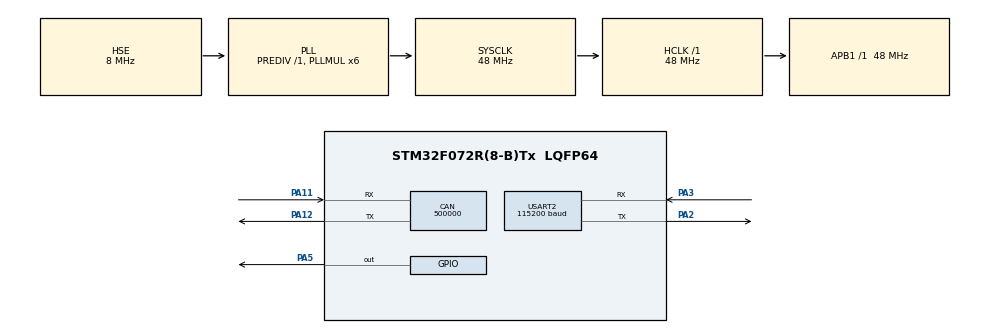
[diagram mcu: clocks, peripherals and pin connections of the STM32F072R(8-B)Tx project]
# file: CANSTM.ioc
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CAN.BS1=CAN_BS1_2TQ
CAN.BS2=CAN_BS2_3TQ
CAN.CalculateBaudRate=500000
CAN.CalculateTimeBit=2000
CAN.CalculateTimeQuantum=333.3333333333333
CAN.SJW=CAN_SJW_2TQ
Dma.Request0=USART2_RX
Dma.USART2_RX.0.Direction=DMA_PERIPH_TO_MEMORY
Dma.USART2_RX.0.Instance=DMA1_Channel5
Dma.USART2_RX.0.MemDataAlignment=DMA_MDATAALIGN_BYTE
Dma.USART2_RX.0.MemInc=DMA_MINC_ENABLE
Dma.USART2_RX.0.Mode=DMA_NORMAL
Dma.USART2_RX.0.PeriphDataAlignment=DMA_PDATAALIGN_BYTE
Dma.USART2_RX.0.PeriphInc=DMA_PINC_DISABLE
Dma.USART2_RX.0.Priority=DMA_PRIORITY_LOW
Mcu.Family=STM32F0
Mcu.Name=STM32F072R(8-B)Tx
Mcu.Package=LQFP64
NVIC.CEC_CAN_IRQn=true\:0\:0\:false\:false\:true\:true\:true\:true
NVIC.DMA1_Channel4_5_6_7_IRQn=true\:0\:0\:false\:false\:true\:false\:true\:true
PA11.Mode=CAN_Activate
PA11.Signal=CAN_RX
PA12.Mode=CAN_Activate
PA12.Signal=CAN_TX
PA2.Mode=Asynchronous
PA2.Signal=USART2_TX
PA3.Mode=Asynchronous
PA3.Signal=USART2_RX
PA5.Signal=GPIO_Output
PF0-OSC_IN.Mode=HSE-External-Oscillator
PF0-OSC_IN.Signal=RCC_OSC_IN
PF1-OSC_OUT.Mode=HSE-External-Oscillator
PF1-OSC_OUT.Signal=RCC_OSC_OUT
ProjectManager.HeapSize=0x200
ProjectManager.StackSize=0x400
ProjectManager.TargetToolchain=STM32CubeIDE
RCC.AHBFreq_Value=48000000
RCC.APB1Freq_Value=48000000
RCC.APB1TimFreq_Value=48000000
RCC.HCLKFreq_Value=48000000
RCC.PLLMUL=RCC_PLL_MUL6
RCC.PLLSourceVirtual=RCC_PLLSOURCE_HSE
RCC.SYSCLKFreq_VALUE=48000000
RCC.SYSCLKSource=RCC_SYSCLKSOURCE_PLLCLK
USART2.BaudRate=115200
USART2.VirtualMode-Asynchronous=VM_ASYNC
board=custom

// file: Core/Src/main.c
/* USER CODE BEGIN Header */
/**
  ******************************************************************************
  * @file           : main.c
  * @brief          : Main program body
  ******************************************************************************
  * @attention
  *
  * Copyright (c) 2023 STMicroelectronics.
  * All rights reserved.
  *
  * This software is licensed under terms that can be found in the LICENSE file
  * in the root directory of this software component.
  * If no LICENSE file comes with this software, it is provided AS-IS.
  *
  ******************************************************************************
  */
/* USER CODE END Header */
#include "main.h"

CAN_HandleTypeDef hcan;

UART_HandleTypeDef huart2;
DMA_HandleTypeDef hdma_usart2_rx;

void SystemClock_Config(void);
static void MX_GPIO_Init(void);
static void MX_DMA_Init(void);
static void MX_CAN_Init(void);
static void MX_USART2_UART_Init(void);
/* USER CODE BEGIN PFP */

void CAN_Config(void);
uint8_t CAN_Transmit(uint32_t, uint32_t, uint8_t *);

/* USER CODE END PFP */

/* USER CODE BEGIN 0 */

CAN_RxHeaderTypeDef RxHeader; //CAN Bus Transmit Header
CAN_TxHeaderTypeDef TxHeader; //CAN Bus Receive Header

uint8_t 			RxData[8];  //CAN Bus Receive Buffer
uint8_t				TxData[8] = {0, 1, 2, 3, 4, 5, 6, 7};
uint32_t TxMailbox; //CAN Bus Mail box variable

uint8_t UART_rxBuffer[1] = {0};
uint8_t UART_rxBLock[16];
uint8_t i = 0;

/* USER CODE END 0 */

int main(void)
{

  /* MCU Configuration--------------------------------------------------------*/

  /* Reset of all peripherals, Initializes the Flash interface and the Systick. */
  HAL_Init();

  /* Configure the system clock */
  SystemClock_Config();

  /* Initialize all configured peripherals */
  MX_GPIO_Init();
  MX_DMA_Init();
  MX_CAN_Init();
  MX_USART2_UART_Init();
  /* USER CODE BEGIN 2 */

  CAN_Config();

  HAL_UART_Receive_DMA (&huart2, UART_rxBuffer, 1);

  uint8_t Test[] = "Hello World !!!\r\n"; //Data to send
  HAL_UART_Transmit(&huart2,Test,sizeof(Test),10);
  HAL_Delay(1000);

  /* USER CODE END 2 */

  /* Infinite loop */
  while (1)
  {

    /* USER CODE BEGIN 3 */

	 /*  uint8_t Test[] = "Hello World !!!\r\n"; //Data to send
	  HAL_UART_Transmit(&huart2,Test,sizeof(Test),10);// Sending in normal mode
	  HAL_Delay(1000);
	 */

	  if ((UART_rxBuffer[0] == 110) || (i == 15))
	  {
		  HAL_UART_Transmit(&huart2, UART_rxBLock, sizeof(Test), 10);
		  UART_rxBuffer[0] = 0;
		  for(int j=0; j<= 15; j++)
		  {
			  UART_rxBLock[j] = 0;
		  }
		  i = 0;
	  }

	  if(HAL_CAN_GetRxFifoFillLevel(&hcan, CAN_RX_FIFO0) > 0)
	  {
		  HAL_CAN_GetRxMessage(&hcan, CAN_RX_FIFO0, &RxHeader, RxData);

		  if (RxHeader.IDE == CAN_ID_STD && RxHeader.DLC == 1 && RxData[0] == 4)
		  {
			  uint8_t CanMsg[] = "RECEPTION";
			  HAL_UART_Transmit(&huart2,CanMsg,sizeof(CanMsg),10);
		  }
	  }

	  uint32_t addr = 0x00;
	  uint32_t data_size = 8;
	  uint8_t tab_data[] = {0, 1, 2, 3, 4, 5, 6, 7};

	  CAN_Transmit(addr, data_size, &tab_data);

  /* USER CODE END 3 */
}

void SystemClock_Config(void)
{
  RCC_OscInitTypeDef RCC_OscInitStruct = {0};
  RCC_ClkInitTypeDef RCC_ClkInitStruct = {0};
  RCC_PeriphCLKInitTypeDef PeriphClkInit = {0};

  /** Initializes the RCC Oscillators according to the specified parameters
  * in the RCC_OscInitTypeDef structure.
  */
  RCC_OscInitStruct.OscillatorType = RCC_OSCILLATORTYPE_HSE;
  RCC_OscInitStruct.HSEState = RCC_HSE_ON;
  RCC_OscInitStruct.PLL.PLLState = RCC_PLL_ON;
  RCC_OscInitStruct.PLL.PLLSource = RCC_PLLSOURCE_HSE;
  RCC_OscInitStruct.PLL.PLLMUL = RCC_PLL_MUL6;
  RCC_OscInitStruct.PLL.PREDIV = RCC_PREDIV_DIV1;
  if (HAL_RCC_OscConfig(&RCC_OscInitStruct) != HAL_OK)
  {
    Error_Handler();
  }

  /** Initializes the CPU, AHB and APB buses clocks
  */
  RCC_ClkInitStruct.ClockType = RCC_CLOCKTYPE_HCLK|RCC_CLOCKTYPE_SYSCLK
                              |RCC_CLOCKTYPE_PCLK1;
  RCC_ClkInitStruct.SYSCLKSource = RCC_SYSCLKSOURCE_PLLCLK;
  RCC_ClkInitStruct.AHBCLKDivider = RCC_SYSCLK_DIV1;
  RCC_ClkInitStruct.APB1CLKDivider = RCC_HCLK_DIV1;

  if (HAL_RCC_ClockConfig(&RCC_ClkInitStruct, FLASH_LATENCY_1) != HAL_OK)
  {
    Error_Handler();
  }
  PeriphClkInit.PeriphClockSelection = RCC_PERIPHCLK_USART2;
  PeriphClkInit.Usart2ClockSelection = RCC_USART2CLKSOURCE_PCLK1;
  if (HAL_RCCEx_PeriphCLKConfig(&PeriphClkInit) != HAL_OK)
  {
    Error_Handler();
  }
}

static void MX_CAN_Init(void)
{

  hcan.Instance = CAN;
  hcan.Init.Prescaler = 16;
  hcan.Init.Mode = CAN_MODE_NORMAL;
  hcan.Init.SyncJumpWidth = CAN_SJW_2TQ;
  hcan.Init.TimeSeg1 = CAN_BS1_2TQ;
  hcan.Init.TimeSeg2 = CAN_BS2_3TQ;
  hcan.Init.TimeTriggeredMode = DISABLE;
  hcan.Init.AutoBusOff = DISABLE;
  hcan.Init.AutoWakeUp = DISABLE;
  hcan.Init.AutoRetransmission = DISABLE;
  hcan.Init.ReceiveFifoLocked = DISABLE;
  hcan.Init.TransmitFifoPriority = DISABLE;
  if (HAL_CAN_Init(&hcan) != HAL_OK)
  {
    Error_Handler();
  }

}

static void MX_USART2_UART_Init(void)
{

  huart2.Instance = USART2;
  huart2.Init.BaudRate = 115200;
  huart2.Init.WordLength = UART_WORDLENGTH_8B;
  huart2.Init.StopBits = UART_STOPBITS_1;
  huart2.Init.Parity = UART_PARITY_NONE;
  huart2.Init.Mode = UART_MODE_TX_RX;
  huart2.Init.HwFlowCtl = UART_HWCONTROL_NONE;
  huart2.Init.OverSampling = UART_OVERSAMPLING_16;
  huart2.Init.OneBitSampling = UART_ONE_BIT_SAMPLE_DISABLE;
  huart2.AdvancedInit.AdvFeatureInit = UART_ADVFEATURE_NO_INIT;
  if (HAL_UART_Init(&huart2) != HAL_OK)
  {
    Error_Handler();
  }

}

static void MX_DMA_Init(void)
{

  /* DMA controller clock enable */
  __HAL_RCC_DMA1_CLK_ENABLE();

  /* DMA interrupt init */
  /* DMA1_Channel4_5_6_7_IRQn interrupt configuration */
  HAL_NVIC_SetPriority(DMA1_Channel4_5_6_7_IRQn, 0, 0);
  HAL_NVIC_EnableIRQ(DMA1_Channel4_5_6_7_IRQn);

}

static void MX_GPIO_Init(void)
{
  GPIO_InitTypeDef GPIO_InitStruct = {0};

  /* GPIO Ports Clock Enable */
  __HAL_RCC_GPIOF_CLK_ENABLE();
  __HAL_RCC_GPIOA_CLK_ENABLE();

  /*Configure GPIO pin Output Level */
  HAL_GPIO_WritePin(GPIOA, GPIO_PIN_5, GPIO_PIN_RESET);

  /*Configure GPIO pin : PA5 */
  GPIO_InitStruct.Pin = GPIO_PIN_5;
  GPIO_InitStruct.Mode = GPIO_MODE_OUTPUT_PP;
  GPIO_InitStruct.Pull = GPIO_NOPULL;
  GPIO_InitStruct.Speed = GPIO_SPEED_FREQ_LOW;
  HAL_GPIO_Init(GPIOA, &GPIO_InitStruct);

}

/* USER CODE BEGIN 4 */

void HAL_CAN_RxFifo0MsgPendingCallback(CAN_HandleTypeDef *hcan)
{
  HAL_CAN_GetRxMessage(hcan, CAN_RX_FIFO0, &RxHeader, RxData);
}

void CAN_Config(void)
{
  CAN_FilterTypeDef  sFilterConfig;

  sFilterConfig.FilterBank = 0;
  sFilterConfig.FilterMode = CAN_FILTERMODE_IDMASK;
  sFilterConfig.FilterScale = CAN_FILTERSCALE_32BIT;
  sFilterConfig.FilterIdHigh = 0x320 << 5;
  sFilterConfig.FilterIdLow = 0;
  sFilterConfig.FilterMaskIdHigh = 0xFFF << 5;
  sFilterConfig.FilterMaskIdLow = 0;
  sFilterConfig.FilterFIFOAssignment = CAN_RX_FIFO0;
  sFilterConfig.FilterActivation = ENABLE;
  sFilterConfig.SlaveStartFilterBank = 14;

  HAL_CAN_ConfigFilter(&hcan, &sFilterConfig);

  HAL_CAN_Start(&hcan);

  HAL_CAN_ActivateNotification(&hcan, CAN_IT_RX_FIFO0_MSG_PENDING);

  TxHeader.StdId = 0x320;
  TxHeader.ExtId = 0x01;
  TxHeader.RTR = CAN_RTR_DATA;
  TxHeader.IDE = CAN_ID_STD;
  TxHeader.DLC = 2;
  TxHeader.TransmitGlobalTime = DISABLE;
}

void HAL_UART_RxCpltCallback(UART_HandleTypeDef *huart)
{
    HAL_UART_Transmit(&huart2, UART_rxBuffer, 1, 100);
    HAL_UART_Receive_DMA(&huart2, UART_rxBuffer, 1);

    UART_rxBLock[i] = UART_rxBuffer[0];
    i++;
}

uint8_t CAN_Transmit(uint32_t addr, uint32_t data_size, uint8_t * tab_data)
{
    if(data_size > 8 || sizeof(tab_data) / sizeof(tab_data[0]) <= data_size)
	return 0;

    TxHeader.StdId = addr;
    TxHeader.DLC = data_size;

    for(int i = 0; i < data_size; i++)
    {
	TxData[i] = tab_data[i];
    }

    HAL_CAN_AddTxMessage(&hcan1, &TxHeader, TxData, &TxMailbox);

    return 1;
}

/* USER CODE END 4 */

void Error_Handler(void)
{
  __disable_irq();
  while (1)
  {
  }
}
